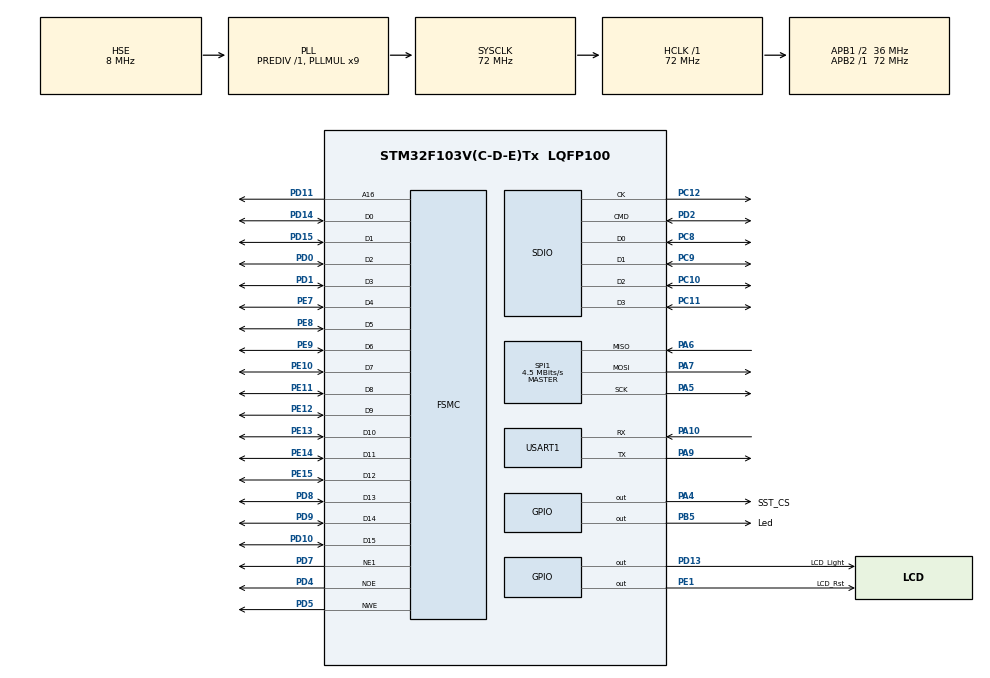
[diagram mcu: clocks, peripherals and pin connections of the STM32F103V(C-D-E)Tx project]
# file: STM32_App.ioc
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ADC1.Channel-0\#ChannelRegularConversion=ADC_CHANNEL_TEMPSENSOR
ADC1.NbrOfConversionFlag=1
ADC1.Rank-0\#ChannelRegularConversion=1
ADC1.SamplingTime-0\#ChannelRegularConversion=ADC_SAMPLETIME_13CYCLES_5
ADC1.master=1
Dma.Request0=USART1_RX
Dma.Request1=USART1_TX
Dma.USART1_RX.0.Direction=DMA_PERIPH_TO_MEMORY
Dma.USART1_RX.0.Instance=DMA1_Channel5
Dma.USART1_RX.0.MemDataAlignment=DMA_MDATAALIGN_BYTE
Dma.USART1_RX.0.MemInc=DMA_MINC_ENABLE
Dma.USART1_RX.0.Mode=DMA_CIRCULAR
Dma.USART1_RX.0.PeriphDataAlignment=DMA_PDATAALIGN_BYTE
Dma.USART1_RX.0.PeriphInc=DMA_PINC_DISABLE
Dma.USART1_RX.0.Priority=DMA_PRIORITY_LOW
Dma.USART1_TX.1.Direction=DMA_MEMORY_TO_PERIPH
Dma.USART1_TX.1.Instance=DMA1_Channel4
Dma.USART1_TX.1.MemDataAlignment=DMA_MDATAALIGN_BYTE
Dma.USART1_TX.1.MemInc=DMA_MINC_ENABLE
Dma.USART1_TX.1.Mode=DMA_NORMAL
Dma.USART1_TX.1.PeriphDataAlignment=DMA_PDATAALIGN_BYTE
Dma.USART1_TX.1.PeriphInc=DMA_PINC_DISABLE
Dma.USART1_TX.1.Priority=DMA_PRIORITY_LOW
FREERTOS.Tasks01=defaultTask,0,128,StartDefaultTask,Default,NULL
FSMC.AddressSetupTime1=2
FSMC.BusTurnAroundDuration1=0
FSMC.DataSetupTime1=5
Mcu.Family=STM32F1
Mcu.Name=STM32F103V(C-D-E)Tx
Mcu.Package=LQFP100
NVIC.ADC1_2_IRQn=true\:5\:0\:false\:false\:true\:true\:true\:true
NVIC.DMA1_Channel4_IRQn=true\:5\:0\:false\:false\:true\:true\:false\:true
NVIC.DMA1_Channel5_IRQn=true\:5\:0\:false\:false\:true\:true\:false\:true
NVIC.PriorityGroup=NVIC_PRIORITYGROUP_4
NVIC.TIM1_UP_IRQn=true\:0\:0\:false\:false\:true\:false\:false\:true
NVIC.TIM2_IRQn=true\:5\:0\:false\:false\:true\:true\:true\:true
NVIC.TIM3_IRQn=true\:5\:0\:false\:false\:true\:true\:true\:true
NVIC.TIM4_IRQn=true\:5\:0\:false\:false\:true\:true\:true\:true
NVIC.TIM5_IRQn=true\:5\:0\:false\:false\:true\:true\:true\:true
NVIC.TimeBase=TIM1_UP_IRQn
NVIC.TimeBaseIP=TIM1
OSC_IN.Mode=HSE-External-Oscillator
OSC_IN.Signal=RCC_OSC_IN
OSC_OUT.Mode=HSE-External-Oscillator
OSC_OUT.Signal=RCC_OSC_OUT
PA10.Mode=Asynchronous
PA10.Signal=USART1_RX
PA4.GPIO_Label=SST_CS
PA4.GPIO_Speed=GPIO_SPEED_FREQ_HIGH
PA4.Signal=GPIO_Output
PA5.Mode=Full_Duplex_Master
PA5.Signal=SPI1_SCK
PA6.Mode=Full_Duplex_Master
PA6.Signal=SPI1_MISO
PA7.Mode=Full_Duplex_Master
PA7.Signal=SPI1_MOSI
PA9.Mode=Asynchronous
PA9.Signal=USART1_TX
PB5.GPIO_Label=Led
PB5.Signal=GPIO_Output
PC10.Mode=SD_4_bits_Wide_bus
PC10.Signal=SDIO_D2
PC11.Mode=SD_4_bits_Wide_bus
PC11.Signal=SDIO_D3
PC12.Mode=SD_4_bits_Wide_bus
PC12.Signal=SDIO_CK
PC14-OSC32_IN.Mode=LSE-External-Oscillator
PC14-OSC32_IN.Signal=RCC_OSC32_IN
PC15-OSC32_OUT.Mode=LSE-External-Oscillator
PC15-OSC32_OUT.Signal=RCC_OSC32_OUT
PC8.Mode=SD_4_bits_Wide_bus
PC8.Signal=SDIO_D0
PC9.Mode=SD_4_bits_Wide_bus
PC9.Signal=SDIO_D1
PD0.Mode=16b-d1
PD0.Signal=FSMC_D2
PD1.Mode=16b-d1
PD1.Signal=FSMC_D3
PD10.Mode=16b-d1
PD10.Signal=FSMC_D15
PD11.Mode=A16_1
PD11.Signal=FSMC_A16
PD13.GPIO_Label=LCD_Light
PD13.GPIO_Speed=GPIO_SPEED_FREQ_HIGH
PD13.Signal=GPIO_Output
PD14.Mode=16b-d1
PD14.Signal=FSMC_D0
PD15.Mode=16b-d1
PD15.Signal=FSMC_D1
PD2.Mode=SD_4_bits_Wide_bus
PD2.Signal=SDIO_CMD
PD4.Mode=Lcd1
PD4.Signal=FSMC_NOE
PD5.Mode=Lcd1
PD5.Signal=FSMC_NWE
PD7.Mode=NorPsramChipSelect1_1
PD7.Signal=FSMC_NE1
PD8.Mode=16b-d1
PD8.Signal=FSMC_D13
PD9.Mode=16b-d1
PD9.Signal=FSMC_D14
PE1.GPIO_Label=LCD_Rst
PE1.Signal=GPIO_Output
PE10.Mode=16b-d1
PE10.Signal=FSMC_D7
PE11.Mode=16b-d1
PE11.Signal=FSMC_D8
PE12.Mode=16b-d1
PE12.Signal=FSMC_D9
PE13.Mode=16b-d1
PE13.Signal=FSMC_D10
PE14.Mode=16b-d1
PE14.Signal=FSMC_D11
PE15.Mode=16b-d1
PE15.Signal=FSMC_D12
PE7.Mode=16b-d1
PE7.Signal=FSMC_D4
PE8.Mode=16b-d1
PE8.Signal=FSMC_D5
PE9.Mode=16b-d1
PE9.Signal=FSMC_D6
ProjectManager.HeapSize=0x2000
ProjectManager.StackSize=0x4000
ProjectManager.TargetToolchain=Makefile
RCC.ADCPresc=RCC_ADCPCLK2_DIV6
RCC.AHBFreq_Value=72000000
RCC.APB1CLKDivider=RCC_HCLK_DIV2
RCC.APB1Freq_Value=36000000
RCC.APB1TimFreq_Value=72000000
RCC.APB2Freq_Value=72000000
RCC.APB2TimFreq_Value=72000000
RCC.HCLKFreq_Value=72000000
RCC.PLLMUL=RCC_PLL_MUL9
RCC.PLLSourceVirtual=RCC_PLLSOURCE_HSE
RCC.SYSCLKFreq_VALUE=72000000
RCC.SYSCLKSource=RCC_SYSCLKSOURCE_PLLCLK
RCC.USBFreq_Value=72000000
SDIO.ClockDiv=4
SPI1.BaudRatePrescaler=SPI_BAUDRATEPRESCALER_16
SPI1.CLKPhase=SPI_PHASE_2EDGE
SPI1.CLKPolarity=SPI_POLARITY_HIGH
SPI1.CalculateBaudRate=4.5 MBits/s
SPI1.Direction=SPI_DIRECTION_2LINES
SPI1.Mode=SPI_MODE_MASTER
SPI1.VirtualType=VM_MASTER
TIM2.Period=2000-1
TIM2.Prescaler=36000-1
TIM3.Period=2000-1
TIM3.Prescaler=36000-1
TIM4.Period=2000-1
TIM4.Prescaler=36000-1
TIM5.Period=2000-1
TIM5.Prescaler=36000-1
TIM8.Period=2000-1
TIM8.Prescaler=36000-1
USART1.VirtualMode=VM_ASYNC
VP_ADC1_TempSens_Input.Mode=IN-TempSens
VP_FATFS_VS_SDIO.Mode=SDIO
VP_FREERTOS_VS_CMSIS_V1.Mode=CMSIS_V1
VP_SYS_VS_ND.Mode=No_Debug
VP_SYS_VS_tim1.Mode=TIM1
VP_TIM2_VS_ClockSourceINT.Mode=Internal
VP_TIM3_VS_ClockSourceINT.Mode=Internal
VP_TIM4_VS_ClockSourceINT.Mode=Internal
VP_TIM5_VS_ClockSourceINT.Mode=Internal
VP_TIM8_VS_ClockSourceINT.Mode=Internal
board=custom

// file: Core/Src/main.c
/* USER CODE BEGIN Header */
/**
  ******************************************************************************
  * @file           : main.c
  * @brief          : Main program body
  ******************************************************************************
  * @attention
  *
  * <h2><center>&copy; Copyright (c) 2019 STMicroelectronics.
  * All rights reserved.</center></h2>
  *
  * This software component is licensed by ST under BSD 3-Clause license,
  * the "License"; You may not use this file except in compliance with the
  * License. You may obtain a copy of the License at:
  *                        opensource.org/licenses/BSD-3-Clause
  *
  ******************************************************************************
  */
/* USER CODE END Header */

#include "main.h"
#include "cmsis_os.h"
#include "adc.h"
#include "dma.h"
#include "fatfs.h"
#include "sdio.h"
#include "spi.h"
#include "tim.h"
#include "usart.h"
#include "gpio.h"
#include "fsmc.h"

/* USER CODE BEGIN Includes */
#include "lcd.h"
/* USER CODE END Includes */

/* USER CODE BEGIN PV */
uint8_t light = 0;
/* USER CODE END PV */

void SystemClock_Config(void);
void MX_FREERTOS_Init(void);

int main(void)
{

  /* MCU Configuration--------------------------------------------------------*/

  /* Reset of all peripherals, Initializes the Flash interface and the Systick. */
  HAL_Init();

  /* USER CODE BEGIN Init */
  __enable_irq();
  /* USER CODE END Init */

  /* Configure the system clock */
  SystemClock_Config();

  /* Initialize all configured peripherals */
  MX_GPIO_Init();
  MX_DMA_Init();
  MX_FSMC_Init();
  MX_SDIO_SD_Init();
  MX_FATFS_Init();
  MX_SPI1_Init();
  MX_TIM2_Init();
  MX_USART1_UART_Init();
  MX_TIM3_Init();
  MX_TIM4_Init();
  MX_TIM5_Init();
  MX_TIM8_Init();
  MX_ADC1_Init();
  /* USER CODE BEGIN 2 */
  LCD_Init();

  //HAL_TIM_Base_Start_IT(&htim5);
  tftprintf("Start program");
  HAL_GPIO_WritePin(Led_GPIO_Port, Led_Pin, GPIO_PIN_SET);

  /* USER CODE END 2 */

  /* Call init function for freertos objects (in freertos.c) */
  MX_FREERTOS_Init();

  /* Start scheduler */
  osKernelStart();

  /* We should never get here as control is now taken by the scheduler */

  /* Infinite loop */
  while (1)
  {

  }
}

void SystemClock_Config(void)
{
  RCC_OscInitTypeDef RCC_OscInitStruct = {0};
  RCC_ClkInitTypeDef RCC_ClkInitStruct = {0};
  RCC_PeriphCLKInitTypeDef PeriphClkInit = {0};

  /** Initializes the CPU, AHB and APB busses clocks
  */
  RCC_OscInitStruct.OscillatorType = RCC_OSCILLATORTYPE_HSE;
  RCC_OscInitStruct.HSEState = RCC_HSE_ON;
  RCC_OscInitStruct.HSEPredivValue = RCC_HSE_PREDIV_DIV1;
  RCC_OscInitStruct.HSIState = RCC_HSI_ON;
  RCC_OscInitStruct.PLL.PLLState = RCC_PLL_ON;
  RCC_OscInitStruct.PLL.PLLSource = RCC_PLLSOURCE_HSE;
  RCC_OscInitStruct.PLL.PLLMUL = RCC_PLL_MUL9;
  if (HAL_RCC_OscConfig(&RCC_OscInitStruct) != HAL_OK)
  {
    Error_Handler();
  }
  /** Initializes the CPU, AHB and APB busses clocks
  */
  RCC_ClkInitStruct.ClockType = RCC_CLOCKTYPE_HCLK|RCC_CLOCKTYPE_SYSCLK
                              |RCC_CLOCKTYPE_PCLK1|RCC_CLOCKTYPE_PCLK2;
  RCC_ClkInitStruct.SYSCLKSource = RCC_SYSCLKSOURCE_PLLCLK;
  RCC_ClkInitStruct.AHBCLKDivider = RCC_SYSCLK_DIV1;
  RCC_ClkInitStruct.APB1CLKDivider = RCC_HCLK_DIV2;
  RCC_ClkInitStruct.APB2CLKDivider = RCC_HCLK_DIV1;

  if (HAL_RCC_ClockConfig(&RCC_ClkInitStruct, FLASH_LATENCY_2) != HAL_OK)
  {
    Error_Handler();
  }
  PeriphClkInit.PeriphClockSelection = RCC_PERIPHCLK_ADC;
  PeriphClkInit.AdcClockSelection = RCC_ADCPCLK2_DIV6;
  if (HAL_RCCEx_PeriphCLKConfig(&PeriphClkInit) != HAL_OK)
  {
    Error_Handler();
  }
}

/* USER CODE BEGIN 4 */
void HAL_UART_RxCpltCallback(UART_HandleTypeDef *huart)
{
  /* Prevent unused argument(s) compilation warning */
  if(huart == &huart1) {
    UART_ProcessPack();
  }
  /* NOTE: This function Should not be modified, when the callback is needed,
           the HAL_UART_RxCpltCallback could be implemented in the user file
   */
}

void HAL_UART_TxCpltCallback(UART_HandleTypeDef *huart)
{
  /* Prevent unused argument(s) compilation warning */

  /* NOTE: This function Should not be modified, when the callback is needed,
           the HAL_UART_TxCpltCallback could be implemented in the user file
   */
}

void HAL_UART_ErrorCallback(UART_HandleTypeDef *huart)
{
  /* Prevent unused argument(s) compilation warning */
  if(huart == &huart1) {

  }
  /* NOTE: This function Should not be modified, when the callback is needed,
           the HAL_UART_ErrorCallback could be implemented in the user file
   */
}

void HAL_ADC_ConvCpltCallback(ADC_HandleTypeDef* hadc)
{
  if (hadc == &hadc1) {

  }
}

/* USER CODE END 4 */

void HAL_TIM_PeriodElapsedCallback(TIM_HandleTypeDef *htim)
{
  if (htim->Instance == TIM1) {
    HAL_IncTick();
  }
  /* USER CODE BEGIN Callback 1 */
  if (htim->Instance == TIM2) {

  }
  if (htim->Instance == TIM3) {

  }
  if (htim->Instance == TIM4) {

  }
  if (htim->Instance == TIM5) {

  }
  /* USER CODE END Callback 1 */
}

void Error_Handler(void)
{
}

/************************ (C) COPYRIGHT STMicroelectronics *****END OF FILE****/

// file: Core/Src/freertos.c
/* USER CODE BEGIN Header */
/**
  ******************************************************************************
  * File Name          : freertos.c
  * Description        : Code for freertos applications
  ******************************************************************************
  * @attention
  *
  * <h2><center>&copy; Copyright (c) 2019 STMicroelectronics.
  * All rights reserved.</center></h2>
  *
  * This software component is licensed by ST under Ultimate Liberty license
  * SLA0044, the "License"; You may not use this file except in compliance with
  * the License. You may obtain a copy of the License at:
  *                             www.st.com/SLA0044
  *
  ******************************************************************************
  */
/* USER CODE END Header */

#include "FreeRTOS.h"
#include "task.h"
#include "main.h"
#include "cmsis_os.h"

osThreadId defaultTaskHandle;

void StartDefaultTask(void const * argument);
void MX_FREERTOS_Init(void); /* (MISRA C 2004 rule 8.1) */

void MX_FREERTOS_Init(void) {

  /* Create the thread(s) */
  /* definition and creation of defaultTask */
  osThreadDef(defaultTask, StartDefaultTask, osPriorityNormal, 0, 128);
  defaultTaskHandle = osThreadCreate(osThread(defaultTask), NULL);

}

void StartDefaultTask(void const * argument)
{
  for(;;)
  {
    osDelay(1);
  }
}

/************************ (C) COPYRIGHT STMicroelectronics *****END OF FILE****/
